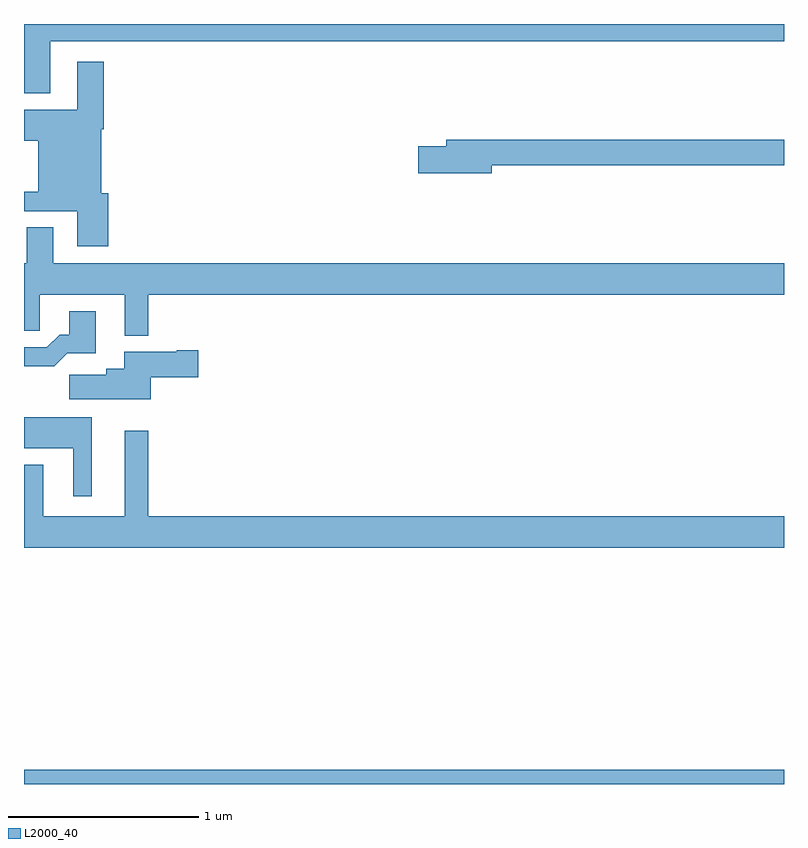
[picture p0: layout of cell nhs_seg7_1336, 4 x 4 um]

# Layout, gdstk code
import gdstk
lib = gdstk.Library(unit=1e-6, precision=1e-09)
def R(c, l, rs):  # rectangles x0, y0, x1, y1
    for r in rs: c.add(gdstk.rectangle(r[:2], r[2:], *l))
def P(c, l, *ps):  # polygons
    for p in ps: c.add(gdstk.Polygon(p, *l))
L2000_40 = (2000, 40)

nhs_seg7_1336 = lib.new_cell('nhs_seg7_1336')
R(nhs_seg7_1336, L2000_40, [(203,1038,207,1038.076)])
P(nhs_seg7_1336, L2000_40, [(207,1042),(203,1042),(203,1041.635),(203.137,1041.635),(203.137,1041.908),(207,1041.908)],
  [(203.444,1041.108),(203.407,1041.108),(203.407,1041.446),(203.42,1041.446),(203.42,1041.802),(203.279,1041.802),(203.279,1041.55),(203,1041.55),(203,1041.386),(203.075,1041.386),(203.075,1041.116),(203,1041.116),(203,1041.015),(203.279,1041.015),(203.279,1040.829),(203.444,1040.829)],
  [(205.462,1041.256),(207,1041.256),(207,1041.392),(205.223,1041.392),(205.223,1041.356),(205.074,1041.356),(205.074,1041.214),(205.462,1041.214)],
  [(203.653,1040.576),(207,1040.576),(207,1040.74),(203.155,1040.74),(203.155,1040.93),(203.015,1040.93),(203.015,1040.74),(203,1040.74),(203,1040.386),(203.082,1040.386),(203.082,1040.576),(203.531,1040.576),(203.531,1040.36),(203.653,1040.36)],
  [(203.228,1040.267),(203.377,1040.267),(203.377,1040.488),(203.237,1040.488),(203.237,1040.365),(203.188,1040.365),(203.121,1040.298),(203,1040.298),(203,1040.198),(203.159,1040.198)],
  [(203.668,1040.141),(203.917,1040.141),(203.917,1040.283),(203.804,1040.283),(203.804,1040.275),(203.528,1040.275),(203.528,1040.185),(203.432,1040.185),(203.432,1040.153),(203.238,1040.153),(203.238,1040.024),(203.668,1040.024)],
  [(203.356,1039.93),(203,1039.93),(203,1039.766),(203.258,1039.766),(203.258,1039.515),(203.356,1039.515)],
  [(207,1039.408),(203.653,1039.408),(203.653,1039.858),(203.531,1039.858),(203.531,1039.408),(203.101,1039.408),(203.101,1039.681),(203,1039.681),(203,1039.244),(207,1039.244)])

lib.write_gds('nhs_seg7_1336.gds')
